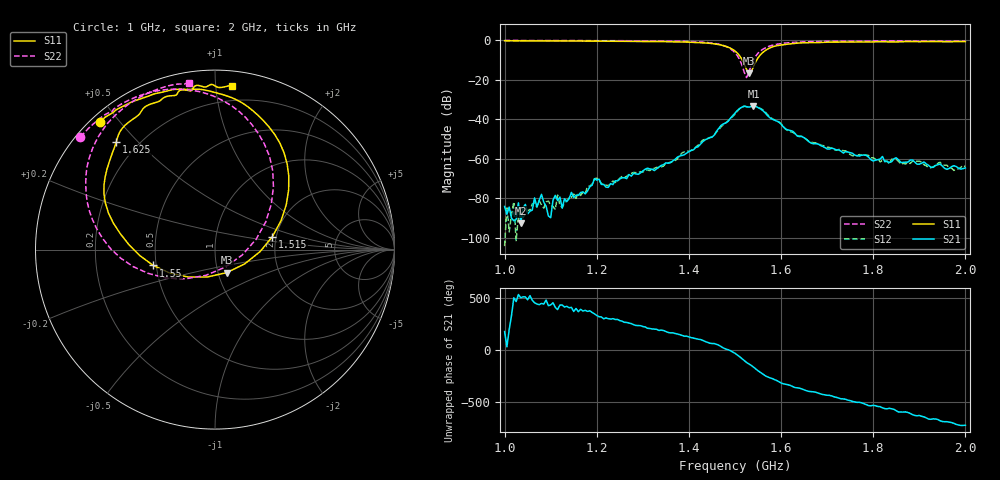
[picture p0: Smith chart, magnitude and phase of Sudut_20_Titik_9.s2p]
# Hz S RI R 50
! CMT, C1220, 16058040, 17.2.0/1
! Date: 14/08/2018 11:54:24
! Data: Format (Calibration Info)
! Freq  S11: Re/Im (F2)  S21: Re/Im (F2)  S12: Re/Im (F2)  S22: Re/Im (F2)
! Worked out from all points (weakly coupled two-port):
!   201 points, 1 GHz to 2 GHz, reference 50 ohm
!   highest |S21| = -33.37 dB at 1.54 GHz (marker M1); lowest = -92.5 dB at 1.035 GHz (marker M2)
!   lowest |S11| = -16.8 dB at 1.53 GHz (marker M3), VSWR 1.34, Z = 55 - j14.4 ohm
!   |S11| at or under -10 dB: 1.516 GHz to 1.547 GHz (31.74 MHz wide, 2.07 % of centre)
!   |S22| runs from -18.9 to -0.2 dB; largest |S21 - S12| = 0.001
!   S11 on the Smith chart (normalised r, x): 1 GHz: 0.03, +0.44; 1.515 GHz: 1.91, +0.31; 1.55 GHz: 0.48, -0.10; 1.625 GHz: 0.12, +0.43; 2 GHz: 0.10, +1.10
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1e9  -0.6429 0.7104  -6.29e-05 2.61e-06  -3.53e-06 5.16e-06  -0.7501 0.6269
1.035e9  -0.6164 0.734  -1.86e-05 1.45e-05  -4.19e-05 1.76e-05  -0.7257 0.6536
1.155e9  -0.4888 0.8114  9.37e-05 7.72e-05  7.33e-05 7.03e-05  -0.6278 0.7413
1.17e9  -0.4708 0.8194  0.000143 3.75e-05  0.000141 3.59e-05  -0.6123 0.7521
1.2e9  -0.4279 0.8355  0.000259 -0.000135  0.00029 -0.000156  -0.5784 0.7655
1.225e9  -0.4004 0.845  9.93e-05 -0.000163  0.000121 -0.000173  -0.5622 0.7841
1.335e9  -0.2133 0.8926  -0.000616 -9.28e-05  -0.000584 -9.03e-05  -0.3958 0.866
1.45e9  0.1837 0.7954  0.00159 0.00315  0.00178 0.00308  0.0274 0.8385
1.5e9  0.4105 0.3346  0.0123 -0.00735  0.0115 -0.00699  0.3255 0.3501
1.515e9  0.3196 0.0719  0.00291 -0.02  0.00344 -0.02  0.2286 0.0569
1.525e9  0.1648 -0.08  -0.00989 -0.0182  -0.00992 -0.0184  0.0563 -0.0981
1.53e9  0.0652 -0.1281  -0.0136 -0.0151  -0.0136 -0.0152  -0.0514 -0.1438
1.54e9  -0.1481 -0.1531  -0.0205 -0.00629  -0.0203 -0.00636  -0.2739 -0.158
1.55e9  -0.3447 -0.0881  -0.0188 0.00627  -0.019 0.00561  -0.4561 -0.0947
1.58e9  -0.6108 0.259  0.000437 0.0101  0.000854 0.0105  -0.7007 0.218
1.625e9  -0.5504 0.5986  0.00493 0.000952  0.00461 0.000999  -0.697 0.5218
1.67e9  -0.4382 0.7401  0.00182 -0.00157  0.00195 -0.00167  -0.6207 0.674
1.835e9  -0.1439 0.885  -0.00077 0.000259  -0.000692 0.00027  -0.3702 0.8731
1.85e9  -0.1274 0.8902  -0.000786 0.000716  -0.000719 0.00063  -0.3498 0.8822
1.945e9  0.00229 0.9104  0.000553 0.000492  0.00057 0.000594  -0.2148 0.9214
1.975e9  0.0582 0.9078  0.000644 0.000192  0.000501 0.000104  -0.1743 0.9219
2e9  0.0944 0.9105  0.000592 -1.81e-05  0.000624 -0.00014  -0.1469 0.931
